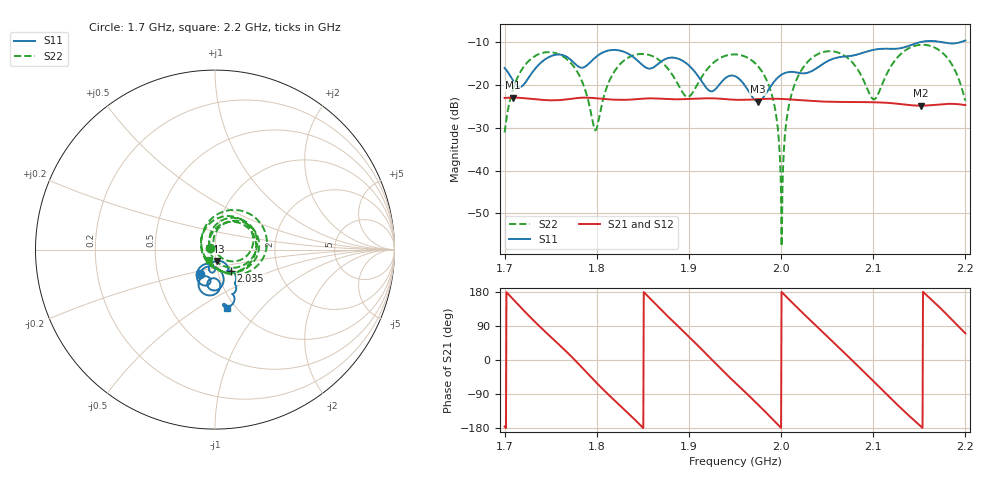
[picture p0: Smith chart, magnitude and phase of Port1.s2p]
# Hz S RI R 50
! CMT, CMT808U, 21440046, 21.4.3/4
! Date: 11/17/2025 2:26:38 PM
! Data: Format (Calibration Info)
! Freq	S11:Re/Im(F2)	S41:Re/Im(F2)	S14:Re/Im(F2)	S44:Re/Im(F2)
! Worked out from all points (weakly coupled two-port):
!   1001 points, 1.7 GHz to 2.2 GHz, reference 50 ohm
!   highest |S21| = -22.93 dB at 1.709 GHz (marker M1); lowest = -24.8 dB at 2.151 GHz (marker M2)
!   lowest |S11| = -23.8 dB at 1.975 GHz (marker M3), VSWR 1.14, Z = 50.5 - j6.45 ohm
!   |S11| at or under -10 dB: start of sweep to 2.15 GHz; 2.175 GHz to 2.194 GHz (19.52 MHz wide, 0.894 % of centre)
!   |S22| runs from -57.6 to -10.6 dB; largest |S21 - S12| = 0.00022
!   S11 on the Smith chart (normalised r, x): 1.7 GHz: 0.82, -0.23; 2.035 GHz: 1.16, -0.28; 2.2 GHz: 0.91, -0.67
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1.7e9  -0.0816 -0.1358  -0.0705 -0.0052  -0.0705 -0.00507  -0.0259 0.0107
1.709e9  -0.0545 -0.0997  -0.0675 0.0233  -0.0675 0.0234  -0.027 0.0847
1.744e9  0.0421 -0.1953  0.0176 0.0644  0.0177 0.0644  0.2096 0.1189
1.7835e9  -0.00912 -0.1593  0.0674 -0.0229  0.0674 -0.0231  0.0611 -0.0962
1.7985e9  0.0289 -0.2084  0.0381 -0.059  0.038 -0.0592  -0.0282 -0.00896
1.825e9  -0.0638 -0.2449  -0.0334 -0.0583  -0.0335 -0.0582  0.0812 0.1543
1.867e9  -0.0248 -0.1765  -0.0527 0.0453  -0.0526 0.0454  0.174 -0.0954
1.899e9  -0.1016 -0.1402  0.0302 0.0618  0.0304 0.0618  -0.069 -0.0231
1.9235e9  -0.0287 -0.0798  0.0699 0.00517  0.07 0.00504  0.00395 0.1695
1.95e9  -0.0262 -0.1245  0.0342 -0.058  0.0341 -0.0581  0.1961 0.117
1.975e9  0.00952 -0.0635  -0.0317 -0.0606  -0.0318 -0.0606  0.1583 -0.049
1.992e9  0.0653 -0.0862  -0.0648 -0.0246  -0.0648 -0.0244  0.0406 -0.0483
2.0005e9  0.0735 -0.11  -0.069 0.000331  -0.069 0.000487  0.000659 -0.00114
2.011e9  0.0667 -0.1261  -0.0609 0.0298  -0.0609 0.0299  -0.00404 0.0758
2.0335e9  0.0858 -0.1182  -0.012 0.064  -0.0118 0.0641  0.1334 0.1594
2.035e9  0.0893 -0.1192  -0.00801 0.0645  -0.00787 0.0645  0.1452 0.1569
2.07e9  0.1107 -0.1858  0.0611 0.0173  0.0611 0.0172  0.1988 -0.0859
2.1005e9  0.1148 -0.2312  0.0347 -0.0525  0.0346 -0.0526  -0.0614 -0.0294
2.117e9  0.0961 -0.2473  -0.00667 -0.0615  -0.00675 -0.0615  -0.0443 0.144
2.1515e9  0.0986 -0.3026  -0.0573 -0.00527  -0.0573 -0.00515  0.2705 0.1184
2.18e9  0.0442 -0.3064  -0.0297 0.0524  -0.0296 0.0524  0.1635 -0.1322
2.2e9  0.0671 -0.3252  0.0197 0.0549  0.0198 0.0549  -0.0329 -0.0567
